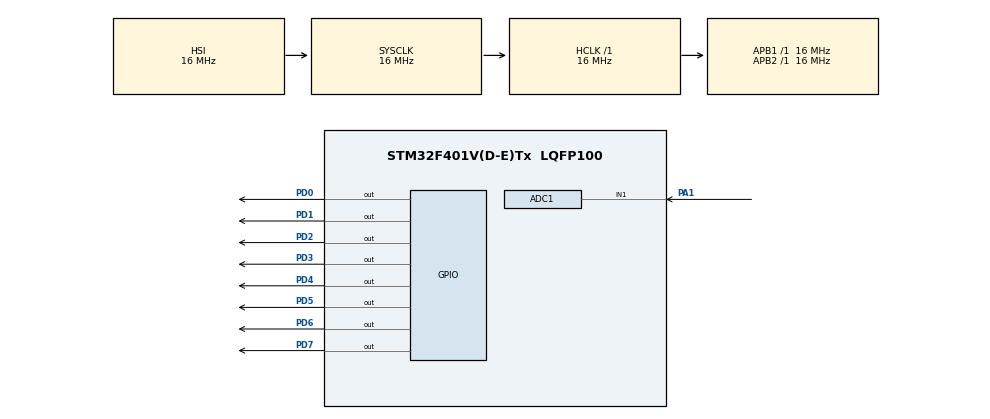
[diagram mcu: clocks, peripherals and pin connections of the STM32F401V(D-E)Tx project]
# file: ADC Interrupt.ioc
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ADC1.Channel-0\#ChannelRegularConversion=ADC_CHANNEL_1
ADC1.Channel-1\#ChannelRegularConversion=ADC_CHANNEL_1
ADC1.ClockPrescaler=ADC_CLOCK_SYNC_PCLK_DIV4
ADC1.NbrOfConversion=2
ADC1.NbrOfConversionFlag=1
ADC1.Rank-0\#ChannelRegularConversion=1
ADC1.Rank-1\#ChannelRegularConversion=2
ADC1.SamplingTime-0\#ChannelRegularConversion=ADC_SAMPLETIME_480CYCLES
ADC1.SamplingTime-1\#ChannelRegularConversion=ADC_SAMPLETIME_480CYCLES
ADC1.master=1
Mcu.Family=STM32F4
Mcu.Name=STM32F401V(D-E)Tx
Mcu.Package=LQFP100
NVIC.ADC_IRQn=true\:0\:0\:false\:false\:true\:true\:true
NVIC.PriorityGroup=NVIC_PRIORITYGROUP_4
PA1.Signal=ADCx_IN1
PD0.Signal=GPIO_Output
PD1.Signal=GPIO_Output
PD2.Signal=GPIO_Output
PD3.Signal=GPIO_Output
PD4.Signal=GPIO_Output
PD5.Signal=GPIO_Output
PD6.Signal=GPIO_Output
PD7.Signal=GPIO_Output
PH0\ -\ OSC_IN.Mode=HSE-External-Oscillator
PH0\ -\ OSC_IN.Signal=RCC_OSC_IN
PH1\ -\ OSC_OUT.Mode=HSE-External-Oscillator
PH1\ -\ OSC_OUT.Signal=RCC_OSC_OUT
ProjectManager.HeapSize=0x200
ProjectManager.StackSize=0x400
ProjectManager.TargetToolchain=MDK-ARM V5.27
RCC.AHBFreq_Value=16000000
RCC.APB1Freq_Value=16000000
RCC.APB2Freq_Value=16000000
RCC.CortexFreq_Value=16000000
RCC.HSE_VALUE=25000000
RCC.HSI_VALUE=16000000
RCC.LSE_VALUE=32768
RCC.SYSCLKFreq_VALUE=16000000
RCC.VCOOutputFreq_Value=192000000
SH.ADCx_IN1.0=ADC1_IN1,IN1
board=custom

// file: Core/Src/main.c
/* USER CODE BEGIN Header */
/**
  ******************************************************************************
  * @file           : main.c
  * @brief          : Main program body
  ******************************************************************************
  * @attention
  *
  * <h2><center>&copy; Copyright (c) 2021 STMicroelectronics.
  * All rights reserved.</center></h2>
  *
  * This software component is licensed by ST under BSD 3-Clause license,
  * the "License"; You may not use this file except in compliance with the
  * License. You may obtain a copy of the License at:
  *                        opensource.org/licenses/BSD-3-Clause
  *
  ******************************************************************************
  */
/* USER CODE END Header */
#include "main.h"
#include "lcd_character.h"
#include "stdio.h"
#include "math.h"
#include "stdbool.h"

ADC_HandleTypeDef hadc1;

void SystemClock_Config(void);
static void MX_GPIO_Init(void);
static void MX_ADC1_Init(void);

/* USER CODE BEGIN 0 */
void reverse(char* str, int len)
{
    int i = 0, j = len - 1, temp;
    while (i < j)
    {
        temp = str[i];
        str[i] = str[j];
        str[j] = temp;
        i++;
        j--;
    }
}
int intToStr(int x, char str[], int d)
{
    int i = 0;
    while (x)
    {
        str[i++] = (x % 10) + '0';

        x = x / 10;
    }
    // If number of digits required is more, then
    // add 0s at the beginning
    while (i < d)
        str[i++] = '0';
    reverse(str, i);
    str[i] = '\0';
    return i;
}
void ftoa(float n, char* res, int afterpoint)
{
    // Extract integer part
    int ipart = (int)n;

    // Extract floating part
    float fpart = n - (float)ipart;

    // convert integer part to string
    int i = intToStr(ipart, res, 0);//0
    // check for display option after point
    if (afterpoint != 0)
    {
        res[i] = '.'; // add dot

        // Get the value of fraction part upto given no.
        // of points after dot. The third parameter
        // is needed to handle cases like 233.007

        fpart = fpart * pow(10, afterpoint);
        intToStr((int)fpart, res + i + 1, afterpoint);
    }
}
/* USER CODE END 0 */
uint16_t adcVal[2];
uint8_t adcIndex;
uint16_t vol1, vol2;
float temp1, temp2;
char lcdbuff[16];

void HAL_ADC_ConvCpltCallback(ADC_HandleTypeDef* hadc)
{
  adcVal[adcIndex] = HAL_ADC_GetValue(&hadc1);

  if(adcIndex == 1)
  {
    vol1 = 3000 * adcVal[0] / 4096;
    vol2 = 3000 * adcVal[1] / 4096;

		lcd_gotoxy(0,0);
 		lcd_puts("temp=");
		intToStr(vol1,lcdbuff,1);
		lcd_gotoxy(5,0);
		lcd_puts(lcdbuff);
//		HAL_Delay(10);

		lcd_gotoxy(0,1);
 		lcd_puts("vout=");
		intToStr(vol2,lcdbuff,0);
		lcd_gotoxy(5,3);
		lcd_puts(lcdbuff);
//		HAL_Delay(10);

    /* LM35DZ ?? = ??(mV) / 10 */
    temp1 = vol1 / 10.0;

    /* ?????? = (Vsens - V25) / 2.5 + 25? */
    temp2 = ((float)vol2 - 760.0) / 2.5 + 25.0;
  }

  adcIndex++;
  if(adcIndex > 1) adcIndex = 0;

  HAL_ADC_Start_IT(&hadc1);

}
int main(void)
{

  HAL_Init();

  SystemClock_Config();

  MX_GPIO_Init();
  MX_ADC1_Init();
	lcd_init();
	HAL_ADC_Start_IT(&hadc1);
//	lcd_gotoxy(0,0);
// 	lcd_puts("WELCOME TO ADC INT");
  while (1)
  {
    /* USER CODE END WHILE */

  }
}

void SystemClock_Config(void)
{
  RCC_OscInitTypeDef RCC_OscInitStruct = {0};
  RCC_ClkInitTypeDef RCC_ClkInitStruct = {0};

  /** Configure the main internal regulator output voltage
  */
  __HAL_RCC_PWR_CLK_ENABLE();
  __HAL_PWR_VOLTAGESCALING_CONFIG(PWR_REGULATOR_VOLTAGE_SCALE2);
  /** Initializes the RCC Oscillators according to the specified parameters
  * in the RCC_OscInitTypeDef structure.
  */
  RCC_OscInitStruct.OscillatorType = RCC_OSCILLATORTYPE_HSI;
  RCC_OscInitStruct.HSIState = RCC_HSI_ON;
  RCC_OscInitStruct.HSICalibrationValue = RCC_HSICALIBRATION_DEFAULT;
  RCC_OscInitStruct.PLL.PLLState = RCC_PLL_NONE;
  if (HAL_RCC_OscConfig(&RCC_OscInitStruct) != HAL_OK)
  {
    Error_Handler();
  }
  /** Initializes the CPU, AHB and APB buses clocks
  */
  RCC_ClkInitStruct.ClockType = RCC_CLOCKTYPE_HCLK|RCC_CLOCKTYPE_SYSCLK
                              |RCC_CLOCKTYPE_PCLK1|RCC_CLOCKTYPE_PCLK2;
  RCC_ClkInitStruct.SYSCLKSource = RCC_SYSCLKSOURCE_HSI;
  RCC_ClkInitStruct.AHBCLKDivider = RCC_SYSCLK_DIV1;
  RCC_ClkInitStruct.APB1CLKDivider = RCC_HCLK_DIV1;
  RCC_ClkInitStruct.APB2CLKDivider = RCC_HCLK_DIV1;

  if (HAL_RCC_ClockConfig(&RCC_ClkInitStruct, FLASH_LATENCY_0) != HAL_OK)
  {
    Error_Handler();
  }
}

static void MX_ADC1_Init(void)
{

  ADC_ChannelConfTypeDef sConfig = {0};

  /** Configure the global features of the ADC (Clock, Resolution, Data Alignment and number of conversion)
  */
  hadc1.Instance = ADC1;
  hadc1.Init.ClockPrescaler = ADC_CLOCK_SYNC_PCLK_DIV4;
  hadc1.Init.Resolution = ADC_RESOLUTION_12B;
  hadc1.Init.ScanConvMode = ENABLE;
  hadc1.Init.ContinuousConvMode = DISABLE;
  hadc1.Init.DiscontinuousConvMode = DISABLE;
  hadc1.Init.ExternalTrigConvEdge = ADC_EXTERNALTRIGCONVEDGE_NONE;
  hadc1.Init.ExternalTrigConv = ADC_SOFTWARE_START;
  hadc1.Init.DataAlign = ADC_DATAALIGN_RIGHT;
  hadc1.Init.NbrOfConversion = 2;
  hadc1.Init.DMAContinuousRequests = DISABLE;
  hadc1.Init.EOCSelection = ADC_EOC_SINGLE_CONV;
  if (HAL_ADC_Init(&hadc1) != HAL_OK)
  {
    Error_Handler();
  }
  /** Configure for the selected ADC regular channel its corresponding rank in the sequencer and its sample time.
  */
  sConfig.Channel = ADC_CHANNEL_1;
  sConfig.Rank = 1;
  sConfig.SamplingTime = ADC_SAMPLETIME_480CYCLES;
  if (HAL_ADC_ConfigChannel(&hadc1, &sConfig) != HAL_OK)
  {
    Error_Handler();
  }
  /** Configure for the selected ADC regular channel its corresponding rank in the sequencer and its sample time.
  */
  sConfig.Rank = 2;
  if (HAL_ADC_ConfigChannel(&hadc1, &sConfig) != HAL_OK)
  {
    Error_Handler();
  }

}

static void MX_GPIO_Init(void)
{
  GPIO_InitTypeDef GPIO_InitStruct = {0};

  /* GPIO Ports Clock Enable */
  __HAL_RCC_GPIOH_CLK_ENABLE();
  __HAL_RCC_GPIOA_CLK_ENABLE();
  __HAL_RCC_GPIOD_CLK_ENABLE();

  /*Configure GPIO pin Output Level */
  HAL_GPIO_WritePin(GPIOD, GPIO_PIN_0|GPIO_PIN_1|GPIO_PIN_2|GPIO_PIN_3
                          |GPIO_PIN_4|GPIO_PIN_5|GPIO_PIN_6|GPIO_PIN_7, GPIO_PIN_RESET);

  /*Configure GPIO pins : PD0 PD1 PD2 PD3
                           PD4 PD5 PD6 PD7 */
  GPIO_InitStruct.Pin = GPIO_PIN_0|GPIO_PIN_1|GPIO_PIN_2|GPIO_PIN_3
                          |GPIO_PIN_4|GPIO_PIN_5|GPIO_PIN_6|GPIO_PIN_7;
  GPIO_InitStruct.Mode = GPIO_MODE_OUTPUT_PP;
  GPIO_InitStruct.Pull = GPIO_NOPULL;
  GPIO_InitStruct.Speed = GPIO_SPEED_FREQ_LOW;
  HAL_GPIO_Init(GPIOD, &GPIO_InitStruct);

}

void Error_Handler(void)
{
  __disable_irq();
  while (1)
  {
  }
}

/************************ (C) COPYRIGHT STMicroelectronics *****END OF FILE****/
